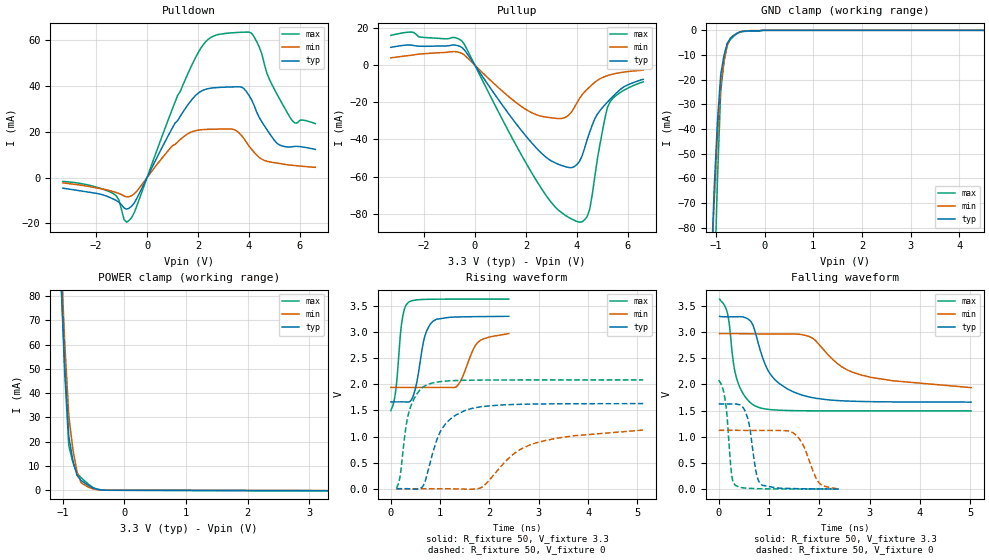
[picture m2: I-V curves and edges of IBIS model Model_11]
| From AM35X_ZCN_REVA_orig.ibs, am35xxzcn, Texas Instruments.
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| Model based on original model for BC1833DV50BTPBFZP18LL_7LM
|   Sub model ZP18LL_7LM_PU_ON_3P3
[model]   Model_11
|[Description]  3.3V-I/O-PU-X
|[Input Load]   PU
|[Output Drive]
|Voltage   3.3V
|Mode   I/O
Model_type   I/O
Polarity   Non-Inverting
Enable   Active-Low
Vinl =  0.8V
Vinh =  2V
Cref =  15pF
Rref =  100.0000M
Vref =  0V
Vmeas =  1.65
C_comp   1.683006p   1.492615p   1.787227p
[Model Spec]
Vinl   0.8V   0.8V   0.8V
Vinh   2V   2V   2V
[Temperature Range]   25   125   -40
[Voltage Range]   3.3   2.97   3.63
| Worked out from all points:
|   slope of the pulldown table from 0 to 0.495 V, typ, clamps not added: 44.6 ohm
|   slope of the pullup table from 0 to 0.495 V, typ, clamps not added: 49.2 ohm
|   GND clamp passes 1 mA (typ) near -0.54 V on its own axis
|   POWER clamp passes 1 mA (typ) near -0.51 V on its own axis
|   rising waveform, R_fixture 50, V_fixture 3.3: 20-80 % time 192ps typ, 276ps min, 120ps max; typ from 1.66 V to 3.3 V
|   rising waveform, R_fixture 50, V_fixture 0: 20-80 % time 424ps typ, 980ps min, 230ps max; typ from 0.004 V to 1.63 V
|   falling waveform, R_fixture 50, V_fixture 3.3: 20-80 % time 512ps typ, 989ps min, 229ps max; typ from 3.3 V to 1.66 V
|   falling waveform, R_fixture 50, V_fixture 0: 20-80 % time 154ps typ, 283ps min, 108ps max; typ from 1.63 V to 0.004 V
[POWER_clamp]
-3.3V     2.414A     2.855A     2.597A
-1.033V   91.28mA    100.7mA    91.91mA
-966.7mV  51.52mA    61.14mA    48.58mA
-900mV    22.2mA     30.8mA     18.38mA
-833.3mV  12.2mA     16.79mA    11.38mA
-766.7mV  6.143mA    7.564mA    6.979mA
-700mV    4.019mA    3.112mA    5.166mA
-566.7mV  1.785mA    1.14mA     2.219mA
-500mV    851.8uA    543.9uA    965.7uA
-433.3mV  384.1uA    260.8uA    410.7uA
-300mV    24.71uA    21.59uA    29.06uA
3.3V      -177.5uA   -136.2uA   -277.3uA
[Pulldown]
-3.3V     -4.655mA   -2.337mA   -1.677mA
-1.3V     -9.504mA   -6.223mA   -7.163mA
-900mV    -13.3mA    -8.026mA   -18.36mA
-700mV    -13.35mA   -8.345mA   -18.7mA
1.8V      34.68mA    20.21mA    50.21mA
2.3V      38.61mA    21.07mA    59.44mA
2.8V      39.41mA    21.2mA     62.61mA
3.5V      39.7mA     20.55mA    63.45mA
4.1V      34.07mA    12.32mA    63.18mA
5V        16.21mA    6.501mA    38.53mA
5.7V      13.51mA    5.366mA    24.85mA
6.6V      12.35mA    4.495mA    23.63mA
[Pullup]
-3.3V     9.687mA    4.009mA    16.14mA
-2.5V     10.88mA    5.407mA    17.91mA
-500mV    9.486mA    6.336mA    12.94mA
1.4V      -27.6mA    -17.76mA   -37.69mA
2.4V      -44.47mA   -26.6mA    -61.92mA
3.5V      -54.49mA   -28.37mA   -80.48mA
4.1V      -51.87mA   -17.91mA   -84.62mA
4.5V      -36.09mA   -11.65mA   -77.77mA
4.8V      -26.39mA   -8.135mA   -50.71mA
5.2V      -19.78mA   -5.578mA   -22.57mA
5.6V      -14.26mA   -4.206mA   -15.61mA
6.6V      -7.577mA   -2.662mA   -8.942mA
[GND_clamp]
-3.3V     -1.975A    -1.766A    -3.378A
-1.1V     -99.48mA   -100.9mA   -162.1mA
-1.033V   -63.84mA   -69.36mA   -106.2mA
-966.7mV  -36.69mA   -43.1mA    -60.37mA
-900mV    -18.03mA   -22.08mA   -24.58mA
-833.3mV  -10.18mA   -12.46mA   -12.65mA
-766.7mV  -5.239mA   -6.112mA   -5.698mA
-700mV    -3.207mA   -3.033mA   -3.732mA
-566.7mV  -1.248mA   -1.197mA   -1.338mA
-500mV    -586.1uA   -614.6uA   -635uA
-33.33mV  0A         0A         0A
6.6V      0A         0A         0A
[Ramp]
dV/dt_f 0.98186181/0.50571511n 0.61795928/0.98353118n  1.2807807/0.22769256n
dV/dt_r 0.98102011/0.42248504n 0.67824879/0.97188799n   1.251451/0.22966431n
R_load = 50
[Rising Waveform]
R_fixture = 50
V_fixture = 3.3
V_fixture_min = 2.97
V_fixture_max = 3.63
2.243ps   1.664V     1.94V      1.495V
104.4ps   1.664V     1.94V      1.903V
229.4ps   1.664V     1.94V      3.217V
350.7ps   1.662V     1.94V      3.561V
472.9ps   1.825V     1.94V      3.606V
683.3ps   2.892V     1.94V      3.623V
849.5ps   3.202V     1.94V      3.627V
1.331ns   3.286V     1.955V     3.629V
1.763ns   3.294V     2.797V     3.63V
2.392ns   3.3V       2.97V      3.63V
[Rising Waveform]
R_fixture = 50
V_fixture = 0
V_fixture_min = 0
V_fixture_max = 0
116.9ps   4.13mV     2.525mV    5.944mV
188.3ps   4.135mV    2.525mV    233.2mV
382.9ps   711uV      2.525mV    1.513V
623.9ps   22.8mV     2.525mV    1.921V
748.7ps   317.9mV    2.525mV    1.995V
1.026ns   1.131V     2.539mV    2.054V
1.5ns     1.497V     -4.413mV   2.077V
1.859ns   1.574V     39.56mV    2.081V
2.925ns   1.623V     873.6mV    2.084V
5.117ns   1.631V     1.125V     2.084V
[Falling Waveform]
R_fixture = 50
V_fixture = 3.3
V_fixture_min = 2.97
V_fixture_max = 3.63
17.83ps   3.3V       2.97V      3.63V
177.1ps   3.292V     2.97V      3.344V
293.7ps   3.291V     2.97V      2.401V
389.8ps   3.294V     2.97V      2.015V
633.9ps   3.206V     2.968V     1.649V
752.5ps   2.907V     2.966V     1.578V
1.044ns   2.173V     2.964V     1.52V
1.666ns   1.795V     2.949V     1.499V
2.847ns   1.676V     2.176V     1.495V
5.018ns   1.664V     1.94V      1.495V
[Falling Waveform]
R_fixture = 50
V_fixture = 0
V_fixture_min = 0
V_fixture_max = 0
0s        1.631V     1.125V     2.084V
122.4ps   1.627V     1.125V     1.735V
250.1ps   1.627V     1.125V     335.8mV
323.4ps   1.627V     1.125V     83.86mV
573.4ps   1.364V     1.124V     19.89mV
741.3ps   336.7mV    1.123V     12.71mV
836ps     99.76mV    1.123V     10.08mV
1.505ns   13.26mV    1.059V     6.076mV
1.99ns    7.353mV    130.9mV    5.961mV
2.385ns   4.13mV     2.525mV    5.944mV
